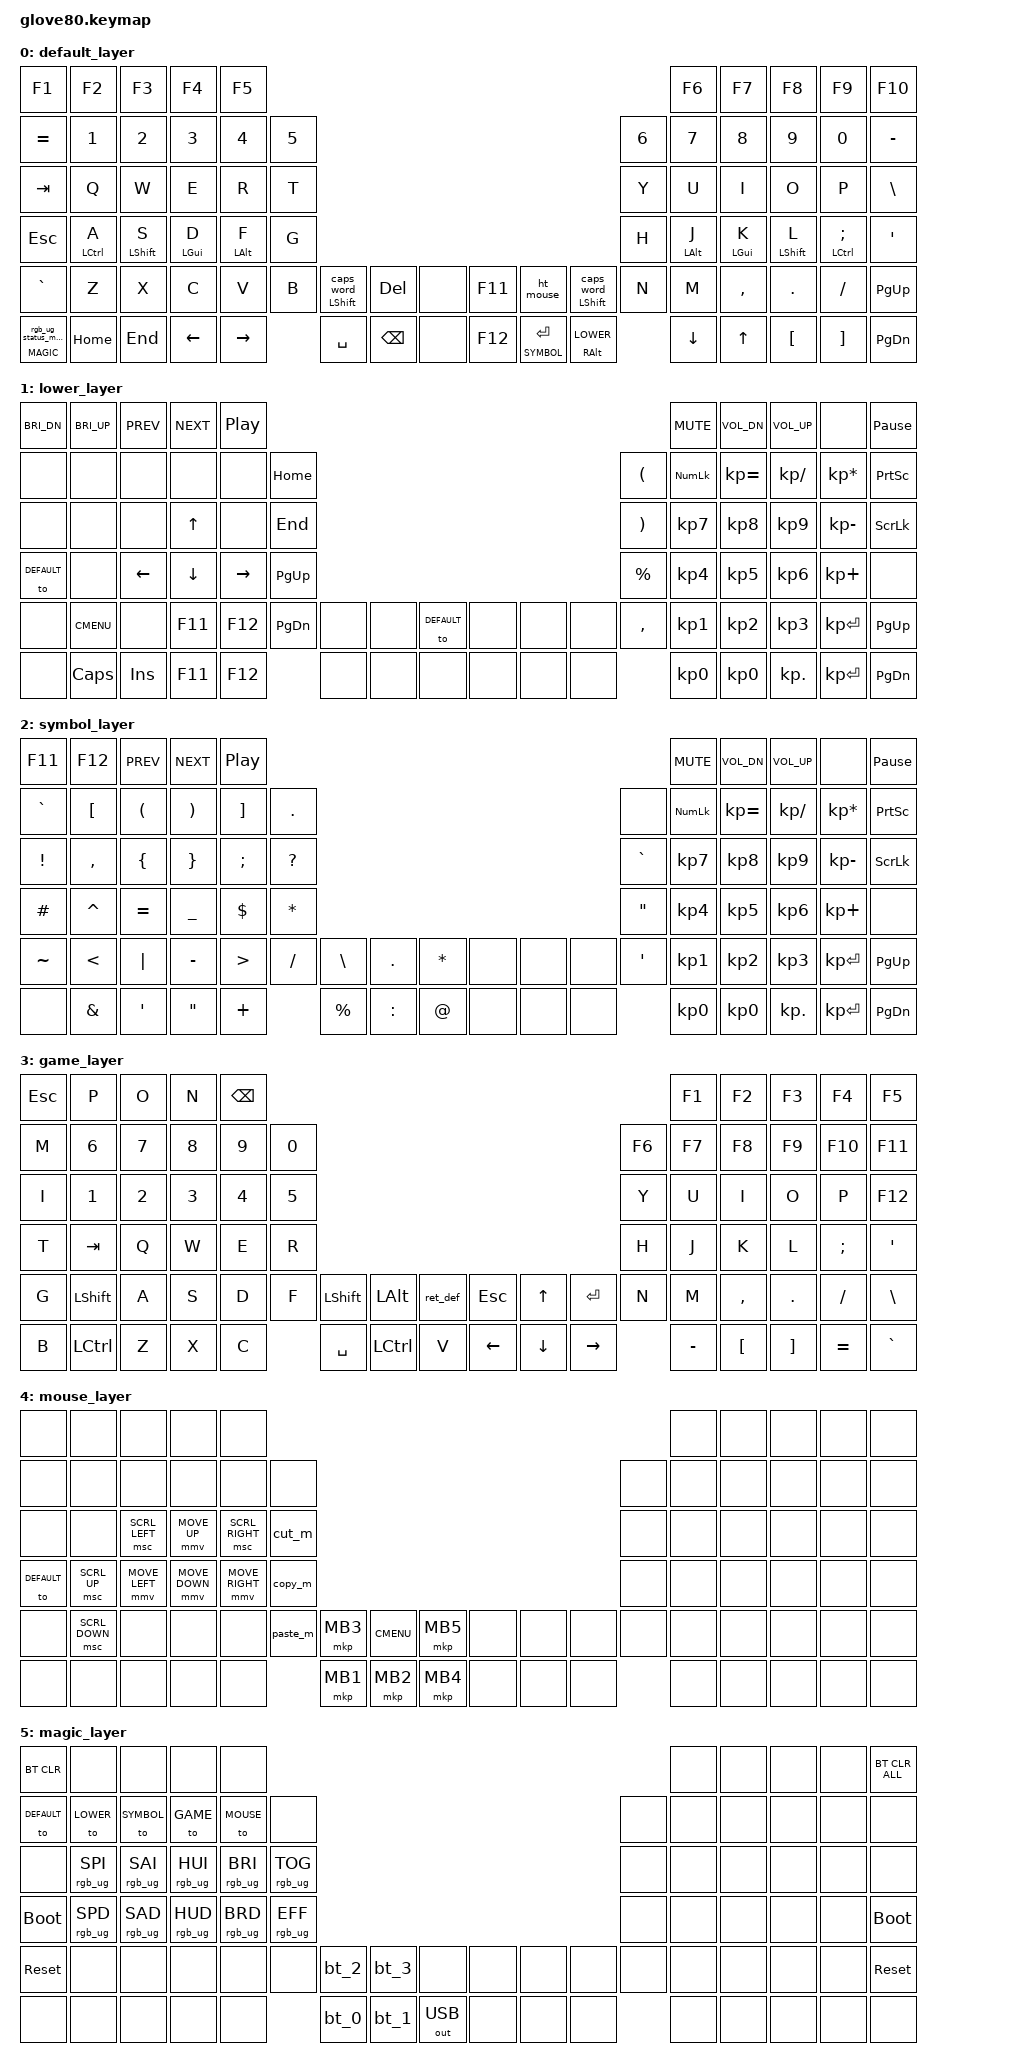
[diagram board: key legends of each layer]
/*
 * Copyright (c) 2020 The ZMK Contributors
 *
 * SPDX-License-Identifier: MIT
 */

#include <behaviors.dtsi>
#include <dt-bindings/zmk/keys.h>
#include <dt-bindings/zmk/bt.h>
#include <dt-bindings/zmk/ext_power.h>
#include <dt-bindings/zmk/outputs.h>
#include <dt-bindings/zmk/rgb.h>

#define ZMK_POINTING_DEFAULT_MOVE_VAL 600
#define ZMK_POINTING_DEFAULT_SCRL_VAL 10
#include <dt-bindings/zmk/pointing.h>

#define HYPER LC(LS(LG(LALT)))

// layers
#define DEFAULT 0
#define LOWER 1
#define SYMBOL 2
#define GAME 3
#define MOUSE 4
#define MAGIC 5

#define KEYS_L 0 1 2 3 4 10 11 12 13 14 15 22 23 24 25 26 27 34 35 36 37 38 39 46 47 48 49 50 51 64 65 66 67 68
#define KEYS_R 5 6 7 8 9 16 17 18 19 20 21 28 29 30 31 32 33 40 41 42 43 44 45 58 59 60 61 62 63 75 76 77 78 79
#define THUMBS 52 53 54 55 56 57 69 70 71 72 73 74

/ {
    behaviors {
        ret_def: ret_def {
            compatible = "zmk,behavior-tap-dance";
            #binding-cells = <0>;
            tapping-term-ms = <200>;
            bindings = <&kp RET>, <&to DEFAULT>;
        };

        kp_cw: kp_cw {
            compatible = "zmk,behavior-hold-tap";
            #binding-cells = <2>;
            flavor = "hold-preferred";
            tapping-term-ms = <200>;
            bindings = <&kp>, <&caps_word>;
        };

        kp_to: kp_to {
            compatible = "zmk,behavior-hold-tap";
            #binding-cells = <2>;
            flavor = "hold-preferred";
            tapping-term-ms = <200>;
            bindings = <&kp>, <&to>;
        };

        mo_to: mo_to {
            compatible = "zmk,behavior-hold-tap";
            #binding-cells = <2>;
            flavor = "hold-preferred";
            tapping-term-ms = <200>;
            bindings = <&mo>, <&to>;
        };

        magic: magic {
            compatible = "zmk,behavior-hold-tap";
            #binding-cells = <2>;
            flavor = "tap-preferred";
            tapping-term-ms = <200>;
            bindings = <&mo>, <&rgb_ug_status_macro>;
        };

        hml: hml {
            flavor = "balanced";
            compatible = "zmk,behavior-hold-tap";
            #binding-cells = <2>;
            tapping-term-ms = <280>;
            quick-tap-ms = <175>;
            require-prior-idle-ms = <150>;
            bindings = <&kp>, <&kp>;
            hold-trigger-key-positions = <KEYS_R THUMBS>;
            hold-trigger-on-release;
        };

        hmr: hmr {
            flavor = "balanced";
            compatible = "zmk,behavior-hold-tap";
            #binding-cells = <2>;
            tapping-term-ms = <280>;
            quick-tap-ms = <175>;
            require-prior-idle-ms = <150>;
            bindings = <&kp>, <&kp>;
            hold-trigger-key-positions = <KEYS_L THUMBS>;
            hold-trigger-on-release;
        };
    };

    macros {
        rgb_ug_status_macro: rgb_ug_status_macro_0 {
            label = "RGB_UG_STATUS";
            compatible = "zmk,behavior-macro";
            #binding-cells = <0>;
            bindings = <&rgb_ug RGB_STATUS>;
        };

        bt_0: bt_profile_macro_0 {
            label = "BT_0";
            compatible = "zmk,behavior-macro";
            #binding-cells = <0>;
            bindings = <&out OUT_BLE>, <&bt BT_SEL 0>;
        };

        bt_1: bt_profile_macro_1 {
            label = "BT_1";
            compatible = "zmk,behavior-macro";
            #binding-cells = <0>;
            bindings = <&out OUT_BLE>, <&bt BT_SEL 1>;
        };

        bt_2: bt_profile_macro_2 {
            label = "BT_2";
            compatible = "zmk,behavior-macro";
            #binding-cells = <0>;
            bindings = <&out OUT_BLE>, <&bt BT_SEL 2>;
        };

        bt_3: bt_profile_macro_3 {
            label = "BT_3";
            compatible = "zmk,behavior-macro";
            #binding-cells = <0>;
            bindings = <&out OUT_BLE>, <&bt BT_SEL 3>;
        };

        cut_m: cut_macro {
            compatible = "zmk,behavior-macro";
            label = "CUT";
            #binding-cells = <0>;
            bindings = <&kp LC(X)>;
        };

        copy_m: copy_macro {
            compatible = "zmk,behavior-macro";
            label = "COPY";
            #binding-cells = <0>;
            bindings = <&kp LC(C)>;
        };

        paste_m: paste_macro {
            compatible = "zmk,behavior-macro";
            label = "PASTE";
            #binding-cells = <0>;
            bindings = <&kp LC(V)>;
        };

        ht_mouse: ht_mouse {
            compatible = "zmk,behavior-macro";
            #binding-cells = <0>;
            bindings = <&mo_to MOUSE MOUSE>;
        };
    };

    keymap {
        compatible = "zmk,keymap";

        default_layer {
            bindings = <
            &kp F1            &kp F2            &kp F3            &kp F4            &kp F5                                                                                                                                                            &kp F6            &kp F7            &kp F8            &kp F9            &kp F10
            &kp EQUAL         &kp N1            &kp N2            &kp N3            &kp N4            &kp N5                                                                                                                        &kp N6            &kp N7            &kp N8            &kp N9            &kp N0            &kp MINUS
            &kp TAB           &kp Q             &kp W             &kp E             &kp R             &kp T                                                                                                                         &kp Y             &kp U             &kp I             &kp O             &kp P             &kp BSLH
            &kp ESC           &hml LCTRL A      &hml LSHFT S      &hml LGUI D       &hml LALT F       &kp G                                                                                                                         &kp H             &hmr LALT J       &hmr LGUI K       &hmr LSHFT L      &hmr LCTRL SEMI   &kp SQT
            &kp GRAVE         &kp Z             &kp X             &kp C             &kp V             &kp B             &kp_cw LSHFT 0    &kp DEL           &none             &kp F11           &ht_mouse         &kp_cw LSHFT 0    &kp N             &kp M             &kp COMMA         &kp DOT           &kp FSLH          &kp PG_UP
            &magic MAGIC 0    &kp HOME          &kp END           &kp LEFT          &kp RIGHT                           &kp SPACE         &kp BSPC          &none             &kp F12           &lt SYMBOL RET    &kp_to RALT LOWER                   &kp DOWN          &kp UP            &kp LBKT          &kp RBKT          &kp PG_DN
            >;
        };

        lower_layer {
            bindings = <
            &kp C_BRI_DN      &kp C_BRI_UP      &kp C_PREV        &kp C_NEXT        &kp C_PP                                                                                                                                                          &kp C_MUTE        &kp C_VOL_DN      &kp C_VOL_UP      &none             &kp PAUSE_BREAK
            &none             &none             &none             &none             &none             &kp HOME                                                                                                                      &kp LPAR          &kp KP_NUM        &kp KP_EQUAL      &kp KP_DIVIDE     &kp KP_MULTIPLY   &kp PSCRN
            &none             &none             &none             &kp UP            &none             &kp END                                                                                                                       &kp RPAR          &kp KP_N7         &kp KP_N8         &kp KP_N9         &kp KP_MINUS      &kp SLCK
            &to DEFAULT       &none             &kp LEFT          &kp DOWN          &kp RIGHT         &kp PG_UP                                                                                                                     &kp PRCNT         &kp KP_N4         &kp KP_N5         &kp KP_N6         &kp KP_PLUS       &none
            &none             &kp K_CMENU       &none             &kp F11           &kp F12           &kp PG_DN         &none             &none             &to DEFAULT       &none             &none             &none             &kp COMMA         &kp KP_N1         &kp KP_N2         &kp KP_N3         &kp KP_ENTER      &kp PG_UP
            &none             &kp CAPS          &kp INS           &kp F11           &kp F12                             &none             &none             &none             &none             &none             &none                               &kp KP_N0         &kp KP_N0         &kp KP_DOT        &kp KP_ENTER      &kp PG_DN
            >;
        };

        symbol_layer {
            bindings = <
            &kp F11           &kp F12           &kp C_PREV        &kp C_NEXT        &kp C_PP                                                                                                                                                          &kp C_MUTE        &kp C_VOL_DN      &kp C_VOL_UP      &none             &kp PAUSE_BREAK
            &kp GRAVE         &kp LBKT          &kp LPAR          &kp RPAR          &kp RBKT          &kp DOT                                                                                                                       &none             &kp KP_NUM        &kp KP_EQUAL      &kp KP_DIVIDE     &kp KP_MULTIPLY   &kp PSCRN
            &kp EXCL          &kp COMMA         &kp LBRC          &kp RBRC          &kp SEMI          &kp QMARK                                                                                                                     &kp GRAVE         &kp KP_N7         &kp KP_N8         &kp KP_N9         &kp KP_MINUS      &kp SLCK
            &kp HASH          &kp CARET         &kp EQUAL         &kp UNDER         &kp DLLR          &kp STAR                                                                                                                      &kp DQT           &kp KP_N4         &kp KP_N5         &kp KP_N6         &kp KP_PLUS       &none
            &kp TILDE         &kp LT            &kp PIPE          &kp MINUS         &kp GT            &kp FSLH          &kp BSLH          &kp DOT           &kp STAR          &none             &none             &none             &kp SQT           &kp KP_N1         &kp KP_N2         &kp KP_N3         &kp KP_ENTER      &kp PG_UP
            &none             &kp AMPS          &kp SQT           &kp DQT           &kp PLUS                            &kp PRCNT         &kp COLON         &kp AT            &none             &none             &none                               &kp KP_N0         &kp KP_N0         &kp KP_DOT        &kp KP_ENTER      &kp PG_DN
            >;
        };

        game_layer {
            bindings = <
            &kp ESC           &kp P             &kp O             &kp N             &kp BSPC                                                                                                                                                          &kp F1            &kp F2            &kp F3            &kp F4            &kp F5
            &kp M             &kp N6            &kp N7            &kp N8            &kp N9            &kp N0                                                                                                                        &kp F6            &kp F7            &kp F8            &kp F9            &kp F10           &kp F11
            &kp I             &kp N1            &kp N2            &kp N3            &kp N4            &kp N5                                                                                                                        &kp Y             &kp U             &kp I             &kp O             &kp P             &kp F12
            &kp T             &kp TAB           &kp Q             &kp W             &kp E             &kp R                                                                                                                         &kp H             &kp J             &kp K             &kp L             &kp SEMI          &kp SQT
            &kp G             &kp LSHFT         &kp A             &kp S             &kp D             &kp F             &kp LSHFT         &kp LALT          &ret_def          &kp ESC           &kp UP            &kp RET           &kp N             &kp M             &kp COMMA         &kp DOT           &kp FSLH          &kp BSLH
            &kp B             &kp LCTRL         &kp Z             &kp X             &kp C                               &kp SPACE         &kp LCTRL         &kp V             &kp LEFT          &kp DOWN          &kp RIGHT                           &kp MINUS         &kp LBKT          &kp RBKT          &kp EQUAL         &kp GRAVE
            >;
        };

        mouse_layer {
            bindings = <     
            &none             &none             &none             &none             &none                                                                                                                                                             &none             &none             &none             &none             &none
            &none             &none             &none             &none             &none             &none                                                                                                                         &none             &none             &none             &none             &none             &none
            &none             &none             &msc SCRL_LEFT    &mmv MOVE_UP      &msc SCRL_RIGHT   &cut_m                                                                                                                        &none             &none             &none             &none             &none             &none
            &to DEFAULT       &msc SCRL_UP      &mmv MOVE_LEFT    &mmv MOVE_DOWN    &mmv MOVE_RIGHT   &copy_m                                                                                                                       &none             &none             &none             &none             &none             &none
            &none             &msc SCRL_DOWN    &none             &none             &none             &paste_m          &mkp MB3          &kp K_CMENU       &mkp MB5          &none             &none             &none             &none             &none             &none             &none             &none             &none
            &none             &none             &none             &none             &none                               &mkp MB1          &mkp MB2          &mkp MB4          &none             &none             &none                               &none             &none             &none             &none             &none
            >;
        };

        magic_layer {
            bindings = <     
            &bt BT_CLR        &none             &none             &none             &none                                                                                                                                                             &none             &none             &none             &none             &bt BT_CLR_ALL
            &to DEFAULT       &to LOWER         &to SYMBOL        &to GAME          &to MOUSE         &none                                                                                                                         &none             &none             &none             &none             &none             &none
            &none             &rgb_ug RGB_SPI   &rgb_ug RGB_SAI   &rgb_ug RGB_HUI   &rgb_ug RGB_BRI   &rgb_ug RGB_TOG                                                                                                               &none             &none             &none             &none             &none             &none
            &bootloader       &rgb_ug RGB_SPD   &rgb_ug RGB_SAD   &rgb_ug RGB_HUD   &rgb_ug RGB_BRD   &rgb_ug RGB_EFF                                                                                                               &none             &none             &none             &none             &none             &bootloader
            &sys_reset        &none             &none             &none             &none             &none             &bt_2             &bt_3             &none             &none             &none             &none             &none             &none             &none             &none             &none             &sys_reset
            &none             &none             &none             &none             &none                               &bt_0             &bt_1             &out OUT_USB      &none             &none             &none                               &none             &none             &none             &none             &none
            >;
        };
    };
};
